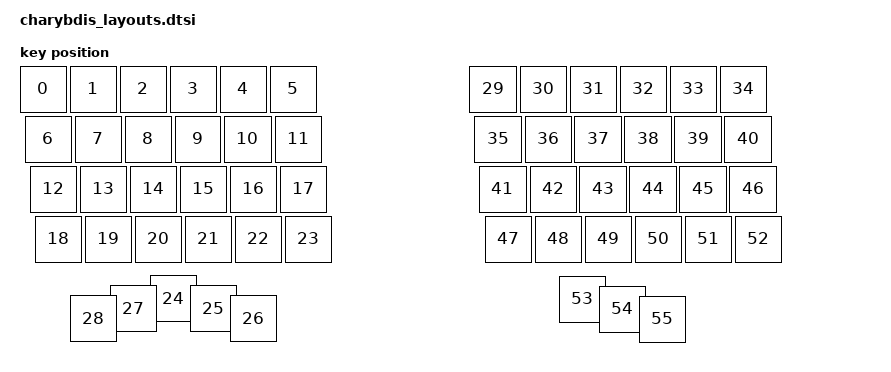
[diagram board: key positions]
/* charybdis_mk2-layouts.dtsi
 * Physical layout for ZMK Studio support (template).
 * - Include this file from your board/shield overlay AFTER your kscan/transform nodes.
 * - Ensure your overlay defines &default_transform and &kscan0 (or adjust labels here).
 */

#include <physical_layouts.dtsi>

/ {
    charybdis_mk2_layout: physical_layout {
        compatible = "zmk,physical-layout";
        display-name = "Charybdis MK2 Default Layout";

        /* Link to your transform and kscan nodes (defined in your shield overlay) */
        transform = <&default_transform>;
        kscan = <&kscan0>;

        /* keys: <w h x y rot rx ry>
         * Units: w/h/x/y in hundredths of a key-unit (1u = 100). rot in degrees.
         * Left: 4x6+5 (29 keys)
         * Right: 4x6+3 (27 keys)
         */
        keys =
            /* ================= LEFT (4 rows x 6 cols) ================= */
            /* Row 0 (top)    c0    c1    c2    c3    c4    c5 */
            <&key_physical_attrs 100 100     0     0   0   0   0>  /* L00 */
          , <&key_physical_attrs 100 100   100     0   0   0   0>  /* L01 */
          , <&key_physical_attrs 100 100   200     0   0   0   0>  /* L02 */
          , <&key_physical_attrs 100 100   300     0   0   0   0>  /* L03 */
          , <&key_physical_attrs 100 100   400     0   0   0   0>  /* L04 */
          , <&key_physical_attrs 100 100   500     0   0   0   0>  /* L05 */

            /* Row 1 (home) */
          , <&key_physical_attrs 100 100    10   100   0   0   0>  /* L10 */
          , <&key_physical_attrs 100 100   110   100   0   0   0>  /* L11 */
          , <&key_physical_attrs 100 100   210   100   0   0   0>  /* L12 */
          , <&key_physical_attrs 100 100   310   100   0   0   0>  /* L13 */
          , <&key_physical_attrs 100 100   410   100   0   0   0>  /* L14 */
          , <&key_physical_attrs 100 100   510   100   0   0   0>  /* L15 */

            /* Row 2 */
          , <&key_physical_attrs 100 100    20   200   0   0   0>  /* L20 */
          , <&key_physical_attrs 100 100   120   200   0   0   0>  /* L21 */
          , <&key_physical_attrs 100 100   220   200   0   0   0>  /* L22 */
          , <&key_physical_attrs 100 100   320   200   0   0   0>  /* L23 */
          , <&key_physical_attrs 100 100   420   200   0   0   0>  /* L24 */
          , <&key_physical_attrs 100 100   520   200   0   0   0>  /* L25 */

            /* Row 3 (bottom) */
          , <&key_physical_attrs 100 100    30   300   0   0   0>  /* L30 */
          , <&key_physical_attrs 100 100   130   300   0   0   0>  /* L31 */
          , <&key_physical_attrs 100 100   230   300   0   0   0>  /* L32 */
          , <&key_physical_attrs 100 100   330   300   0   0   0>  /* L33 */
          , <&key_physical_attrs 100 100   430   300   0   0   0>  /* L34 */
          , <&key_physical_attrs 100 100   530   300   0   0   0>  /* L35 */

            /* Left Thumb cluster (+5) — slight negative rotation */
          , <&key_physical_attrs 100 100   260   420  -10  260 420> /* LT0 */
          , <&key_physical_attrs 100 100   340   440  -10  340 440> /* LT1 */
          , <&key_physical_attrs 100 100   420   460  -10  420 460> /* LT2 */
          , <&key_physical_attrs 100 100   180   440  -10  180 440> /* LT3 */
          , <&key_physical_attrs 100 100   100   460  -10  100 460> /* LT4 */

            /* ================= RIGHT (4 rows x 6 cols) ================= */
            /* Row 0 (top) */
          , <&key_physical_attrs 100 100   900     0    0   0   0> /* R00 */
          , <&key_physical_attrs 100 100  1000     0    0   0   0> /* R01 */
          , <&key_physical_attrs 100 100  1100     0    0   0   0> /* R02 */
          , <&key_physical_attrs 100 100  1200     0    0   0   0> /* R03 */
          , <&key_physical_attrs 100 100  1300     0    0   0   0> /* R04 */
          , <&key_physical_attrs 100 100  1400     0    0   0   0> /* R05 */

            /* Row 1 (home) */
          , <&key_physical_attrs 100 100   910   100    0   0   0> /* R10 */
          , <&key_physical_attrs 100 100  1010   100    0   0   0> /* R11 */
          , <&key_physical_attrs 100 100  1110   100    0   0   0> /* R12 */
          , <&key_physical_attrs 100 100  1210   100    0   0   0> /* R13 */
          , <&key_physical_attrs 100 100  1310   100    0   0   0> /* R14 */
          , <&key_physical_attrs 100 100  1410   100    0   0   0> /* R15 */

            /* Row 2 */
          , <&key_physical_attrs 100 100   920   200    0   0   0> /* R20 */
          , <&key_physical_attrs 100 100  1020   200    0   0   0> /* R21 */
          , <&key_physical_attrs 100 100  1120   200    0   0   0> /* R22 */
          , <&key_physical_attrs 100 100  1220   200    0   0   0> /* R23 */
          , <&key_physical_attrs 100 100  1320   200    0   0   0> /* R24 */
          , <&key_physical_attrs 100 100  1420   200    0   0   0> /* R25 */

            /* Row 3 (bottom) */
          , <&key_physical_attrs 100 100   930   300    0   0   0> /* R30 */
          , <&key_physical_attrs 100 100  1030   300    0   0   0> /* R31 */
          , <&key_physical_attrs 100 100  1130   300    0   0   0> /* R32 */
          , <&key_physical_attrs 100 100  1230   300    0   0   0> /* R33 */
          , <&key_physical_attrs 100 100  1330   300    0   0   0> /* R34 */
          , <&key_physical_attrs 100 100  1430   300    0   0   0> /* R35 */

            /* Right Thumb cluster (+3) — slight positive rotation */
          , <&key_physical_attrs 100 100  1080   420   10 1080 420> /* RT0 */
          , <&key_physical_attrs 100 100  1160   440   10 1160 440> /* RT1 */
          , <&key_physical_attrs 100 100  1240   460   10 1240 460> /* RT2 */
        ;

    };
};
